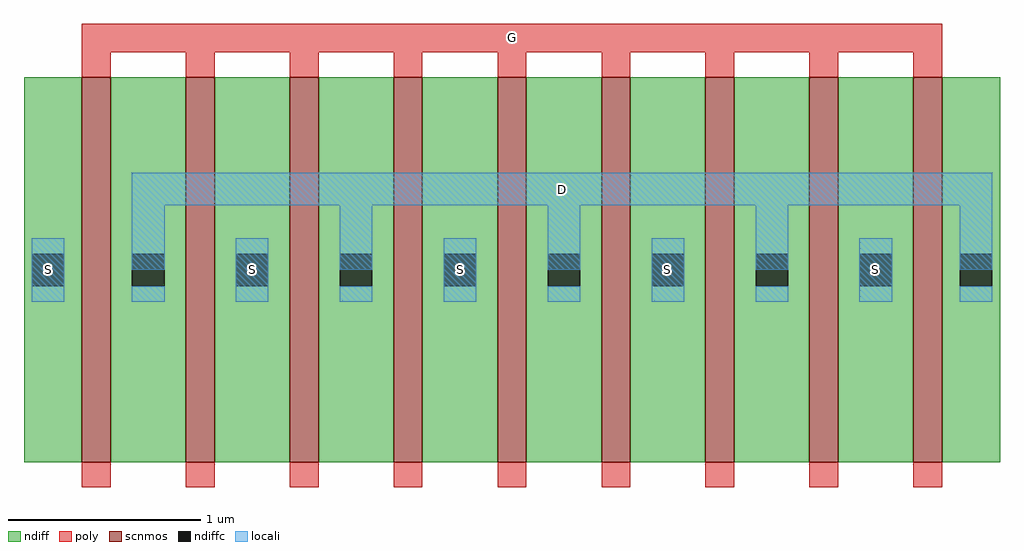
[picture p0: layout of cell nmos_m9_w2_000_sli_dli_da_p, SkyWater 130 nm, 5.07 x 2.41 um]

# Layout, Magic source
magic
tech sky130A
magscale 1 2
<< scnmos >>
rect 60 0 90 400
rect 168 0 198 400
rect 276 0 306 400
rect 384 0 414 400
rect 492 0 522 400
rect 600 0 630 400
rect 708 0 738 400
rect 816 0 846 400
rect 924 0 954 400
<< ndiff >>
rect 0 0 60 400
rect 90 0 168 400
rect 198 0 276 400
rect 306 0 384 400
rect 414 0 492 400
rect 522 0 600 400
rect 630 0 708 400
rect 738 0 816 400
rect 846 0 924 400
rect 954 0 1014 400
<< poly >>
rect 60 426 954 456
rect 60 400 90 426
rect 168 400 198 426
rect 276 400 306 426
rect 384 400 414 426
rect 492 400 522 426
rect 600 400 630 426
rect 708 400 738 426
rect 816 400 846 426
rect 924 400 954 426
rect 60 -26 90 0
rect 168 -26 198 0
rect 276 -26 306 0
rect 384 -26 414 0
rect 492 -26 522 0
rect 600 -26 630 0
rect 708 -26 738 0
rect 816 -26 846 0
rect 924 -26 954 0
<< locali >>
rect 112 267 1006 301
rect 8 167 42 233
rect 112 200 146 267
rect 220 167 254 233
rect 328 200 362 267
rect 436 167 470 233
rect 544 200 578 267
rect 652 167 686 233
rect 760 200 794 267
rect 868 167 902 233
rect 972 200 1006 267
use contact_17  contact_17_0
transform 1 0 964 0 1 167
box 0 0 50 66
use contact_17  contact_17_1
transform 1 0 860 0 1 167
box 0 0 50 66
use contact_17  contact_17_2
transform 1 0 752 0 1 167
box 0 0 50 66
use contact_17  contact_17_3
transform 1 0 644 0 1 167
box 0 0 50 66
use contact_17  contact_17_4
transform 1 0 536 0 1 167
box 0 0 50 66
use contact_17  contact_17_5
transform 1 0 428 0 1 167
box 0 0 50 66
use contact_17  contact_17_6
transform 1 0 320 0 1 167
box 0 0 50 66
use contact_17  contact_17_7
transform 1 0 212 0 1 167
box 0 0 50 66
use contact_17  contact_17_8
transform 1 0 104 0 1 167
box 0 0 50 66
use contact_17  contact_17_9
transform 1 0 0 0 1 167
box 0 0 50 66
<< labels >>
rlabel poly s 507 441 507 441 4 G
rlabel corelocali s 669 200 669 200 4 S
rlabel corelocali s 453 200 453 200 4 S
rlabel corelocali s 25 200 25 200 4 S
rlabel corelocali s 885 200 885 200 4 S
rlabel corelocali s 237 200 237 200 4 S
rlabel corelocali s 559 284 559 284 4 D
<< properties >>
string FIXED_BBOX -25 -26 1039 426
<< end >>

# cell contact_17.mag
magic
tech sky130A
<< ndiff >>
rect 0 25 25 31
rect 0 8 4 25
rect 21 8 25 25
rect 0 2 25 8
<< ndiffc >>
rect 4 8 21 25
<< locali >>
rect 4 25 21 33
rect 4 0 21 8
<< properties >>
string FIXED_BBOX -12 -10 37 43
<< end >>
